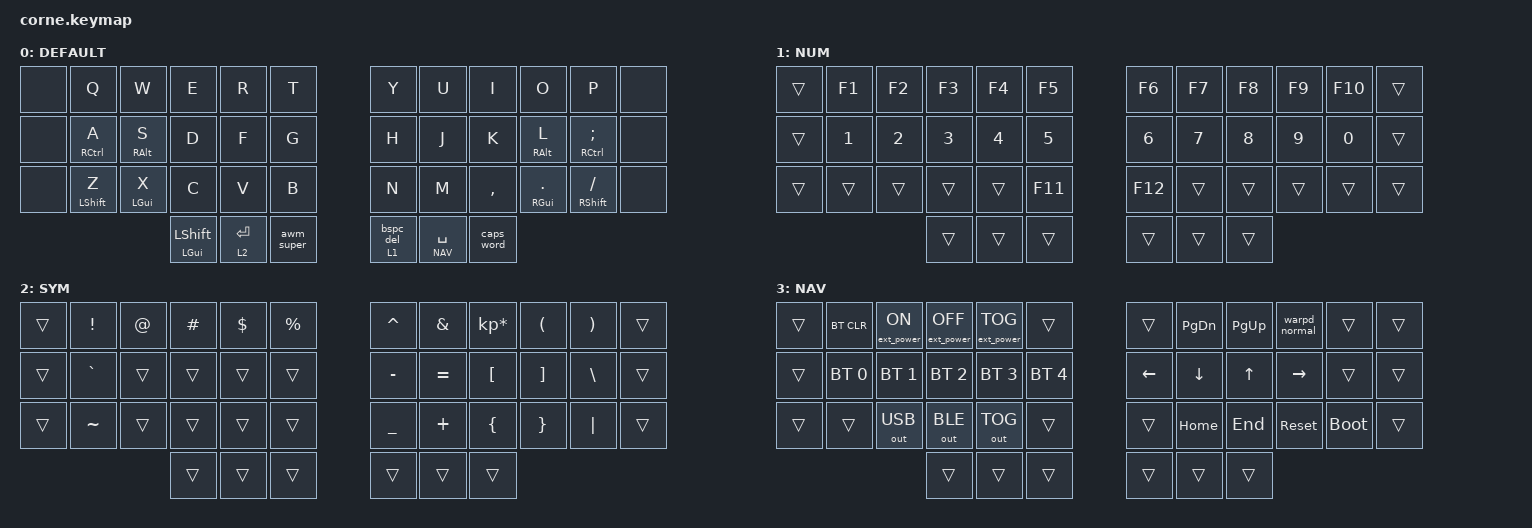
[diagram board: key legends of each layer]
// vim: set ft=devicetree: commentstring=//%s:
/*
 * Copyright (c) 2020 The ZMK Contributors
 *
 * SPDX-License-Identifier: MIT
 */

#include <behaviors.dtsi>
#include <dt-bindings/zmk/bt.h>
#include <dt-bindings/zmk/ext_power.h>
#include <dt-bindings/zmk/keys.h>
#include <dt-bindings/zmk/outputs.h>

#define DEFAULT 0
#define NUM     1
#define SYM     2
#define NAV     3

/ {
    chosen {
        zmk,battery = &vbatt;
    };

    vbatt: vbatt {
        compatible = "zmk,battery-nrf-vddh";
    };

    combos {
        compatible = "zmk,combos";

        tab {
            bindings = <&kp TAB>;
            key-positions = <3 2>;
            require-prior-idle-ms = <50>;
            layers = <DEFAULT>;
        };

        minus {
            bindings = <&kp MINUS>;
            key-positions = <20 21>;
            require-prior-idle-ms = <50>;
            layers = <DEFAULT>;
        };

        quote {
            bindings = <&kp SQT>;
            key-positions = <20 19>;
            require-prior-idle-ms = <50>;
            layers = <DEFAULT>;
        };

        double_quote {
            bindings = <&kp DOUBLE_QUOTES>;
            key-positions = <31 32>;
            require-prior-idle-ms = <50>;
            layers = <DEFAULT>;
        };

        underscore {
            bindings = <&kp UNDERSCORE>;
            key-positions = <32 33>;
            require-prior-idle-ms = <50>;
            layers = <DEFAULT>;
        };

        grave {
            bindings = <&kp GRAVE>;
            key-positions = <3 4>;
            require-prior-idle-ms = <50>;
            layers = <DEFAULT>;
        };

        at {
            bindings = <&kp AT>;
            key-positions = <2 14>;
            require-prior-idle-ms = <50>;
            layers = <DEFAULT>;
        };

        hash {
            bindings = <&kp HASH>;
            key-positions = <3 15>;
            require-prior-idle-ms = <50>;
            layers = <DEFAULT>;
        };

        dollar {
            bindings = <&kp DOLLAR>;
            key-positions = <4 16>;
            require-prior-idle-ms = <50>;
            layers = <DEFAULT>;
        };

        percent {
            bindings = <&kp PERCENT>;
            key-positions = <5 17>;
            require-prior-idle-ms = <50>;
            layers = <DEFAULT>;
        };

        caret {
            bindings = <&kp CARET>;
            key-positions = <6 18>;
            require-prior-idle-ms = <50>;
            layers = <DEFAULT>;
        };

        ampersand {
            bindings = <&kp AMPERSAND>;
            key-positions = <7 19>;
            require-prior-idle-ms = <50>;
            layers = <DEFAULT>;
        };

        star {
            bindings = <&kp ASTERISK>;
            key-positions = <8 20>;
            require-prior-idle-ms = <50>;
            layers = <DEFAULT>;
        };

        backslash {
            bindings = <&kp BACKSLASH>;
            key-positions = <9 21>;
            require-prior-idle-ms = <50>;
            layers = <DEFAULT>;
        };

        pipe {
            bindings = <&kp PIPE>;
            key-positions = <21 33>;
            require-prior-idle-ms = <50>;
            layers = <DEFAULT>;
        };

        tilde {
            bindings = <&kp TILDE>;
            key-positions = <15 16>;
            require-prior-idle-ms = <50>;
            layers = <DEFAULT>;
        };

        bang {
            bindings = <&kp EXCLAMATION>;
            key-positions = <14 26>;
            require-prior-idle-ms = <50>;
            layers = <DEFAULT>;
        };

        plus {
            bindings = <&kp PLUS>;
            key-positions = <20 32>;
            require-prior-idle-ms = <50>;
            layers = <DEFAULT>;
        };

        equal {
            bindings = <&kp EQUAL>;
            key-positions = <31 19>;
            require-prior-idle-ms = <50>;
            layers = <DEFAULT>;
        };
    };

    behaviors {
        hml: hml {
            compatible = "zmk,behavior-hold-tap";
            label = "HOME_ROW_LEFT";
            bindings = <&kp>, <&kp>;

            #binding-cells = <2>;
            tapping-term-ms = <280>;
            quick-tap-ms = <175>;
            require-prior-idle-ms = <150>;
            flavor = "balanced";
            hold-trigger-key-positions = <6 7 8 9 10 11 18 19 20 21 22 23 30 31 32 33 34 35>;
            hold-trigger-on-release;
        };

        hmr: hmr {
            compatible = "zmk,behavior-hold-tap";
            label = "HOME_ROW_RIGHT";
            bindings = <&kp>, <&kp>;

            #binding-cells = <2>;
            tapping-term-ms = <280>;
            quick-tap-ms = <175>;
            require-prior-idle-ms = <150>;
            flavor = "balanced";
            hold-trigger-key-positions = <0 1 2 3 4 5 12 13 14 15 16 17 24 25 26 27 28 29>;
            hold-trigger-on-release;
        };

        thumb_lt: thumb_lt {
            compatible = "zmk,behavior-hold-tap";
            label = "THUMB_LAYER_TAP";
            bindings = <&mo>, <&kp>;

            #binding-cells = <2>;
            tapping-term-ms = <280>;
            quick-tap-ms = <250>;
            require-prior-idle-ms = <150>;
            flavor = "tap-preferred";
        };

        hsk: hold_or_sticky_key {
            compatible = "zmk,behavior-hold-tap";
            label = "HOLD_OR_STICKY_KEY";
            bindings = <&kp>, <&skq>;

            #binding-cells = <2>;
            tapping-term-ms = <275>;
            quick-tap-ms = <250>;
            require-prior-idle-ms = <50>;
            flavor = "tap-preferred";
        };

        awm_super: awm_super {
            compatible = "zmk,behavior-tap-dance";
            label = "AWM_SUPER";
            #binding-cells = <0>;
            bindings = <&lmt LEFT_GUI ESCAPE>, <&lmt LS(LGUI) ESCAPE>;
        };

        skq: skq {
            compatible = "zmk,behavior-sticky-key";
            label = "STICKY_QUICK_RELEASE";
            bindings = <&kp>;
            #binding-cells = <1>;
            release-after-ms = <1500>;
            quick-release;
            ignore-modifiers;
        };

        lmt: lmt {
            compatible = "zmk,behavior-hold-tap";
            label = "LMT";
            bindings = <&lm1>, <&kp>;

            #binding-cells = <2>;
            tapping-term-ms = <150>;
        };

        bspc_del: bspc_del {
            compatible = "zmk,behavior-mod-morph";
            label = "BSPC_DEL";
            bindings = <&kp BACKSPACE>, <&kp DEL>;

            #binding-cells = <0>;
            mods = <(MOD_LSFT|MOD_RSFT)>;
            keep-mods = <(MOD_RSFT)>;
        };

        thumb_lt_bd: thumb_lt_bd {
            compatible = "zmk,behavior-hold-tap";
            label = "THUMB_LT_BD";
            bindings = <&mo>, <&bspc_del>;

            #binding-cells = <2>;
            tapping-term-ms = <280>;
            quick-tap-ms = <250>;
            require-prior-idle-ms = <150>;
            flavor = "tap-preferred";
        };
    };

    macros {
        lm: lm {
            label = "LAYER_MOD";
            compatible = "zmk,behavior-macro-two-param";
            wait-ms = <0>;
            tap-ms = <0>;
            #binding-cells = <2>;
            bindings =
                <&macro_param_1to1>,
                <&macro_press>,
                <&mo MACRO_PLACEHOLDER &macro_param_2to1>,
                <&macro_press>,
                <&kp MACRO_PLACEHOLDER>,
                <&macro_pause_for_release>,
                <&macro_param_2to1>,
                <&macro_release>,
                <&kp MACRO_PLACEHOLDER &macro_param_1to1>,
                <&macro_release>,
                <&mo MACRO_PLACEHOLDER>;
        };

        lm1: lm1 {
            compatible = "zmk,behavior-macro-one-param";
            label = "LM1";
            wait-ms = <0>;
            tap-ms = <0>;
            #binding-cells = <1>;
            bindings =
                <&macro_press>,
                <&mo NUM &macro_param_1to1>,
                <&macro_press>,
                <&kp MACRO_PLACEHOLDER>,
                <&macro_pause_for_release>,
                <&macro_param_1to1>,
                <&macro_release>,
                <&kp MACRO_PLACEHOLDER>,
                <&macro_release>,
                <&mo NUM>;
        };

        warpd_normal: warpd_normal {
            compatible = "zmk,behavior-macro";
            #binding-cells = <0>;
            bindings = <&kp LA(LG(C))>;
            label = "WARPD_NORMAL";
        };
    };

    keymap {
        compatible = "zmk,keymap";

        default_layer {
            bindings = <
&none  &kp Q                 &kp W             &kp E                 &kp R              &kp T         &kp Y             &kp U                &kp I       &kp O                  &kp P                         &none
&none  &hml RIGHT_CONTROL A  &hml RIGHT_ALT S  &kp D                 &kp F              &kp G         &kp H             &kp J                &kp K       &hmr RIGHT_ALT L       &hmr RIGHT_CONTROL SEMICOLON  &none
&none  &hml LEFT_SHIFT Z     &hml LEFT_GUI X   &kp C                 &kp V              &kp B         &kp N             &kp M                &kp COMMA   &hmr RIGHT_GUI PERIOD  &hmr RIGHT_SHIFT SLASH        &none
                                               &hsk LEFT_GUI LSHIFT  &thumb_lt 2 ENTER  &awm_super    &thumb_lt_bd 1 0  &thumb_lt NAV SPACE  &caps_word
            >;

            label = "DEFAULT";
        };

        num_layer {
            bindings = <
&trans  &kp F1        &kp F2        &kp F3        &kp F4        &kp F5          &kp F6        &kp F7        &kp F8        &kp F9        &kp F10       &trans
&trans  &kp NUMBER_1  &kp NUMBER_2  &kp NUMBER_3  &kp NUMBER_4  &kp NUMBER_5    &kp NUMBER_6  &kp NUMBER_7  &kp NUMBER_8  &kp NUMBER_9  &kp NUMBER_0  &trans
&trans  &trans        &trans        &trans        &trans        &kp F11         &kp F12       &trans        &trans        &trans        &trans        &trans
                                    &trans        &trans        &trans          &trans        &trans        &trans
            >;

            label = "NUM";
        };

        sym_layer {
            bindings = <
&trans  &kp EXCL   &kp AT  &kp HASH  &kp DLLR  &kp PRCNT    &kp CARET  &kp AMPS   &kp KP_MULTIPLY  &kp LPAR  &kp RPAR  &trans
&trans  &kp GRAVE  &trans  &trans    &trans    &trans       &kp MINUS  &kp EQUAL  &kp LBKT         &kp RBKT  &kp BSLH  &trans
&trans  &kp TILDE  &trans  &trans    &trans    &trans       &kp UNDER  &kp PLUS   &kp LBRC         &kp RBRC  &kp PIPE  &trans
                           &trans    &trans    &trans       &trans     &trans     &trans
            >;

            label = "SYM";
        };

        nav_layer {
            bindings = <
&trans  &bt BT_CLR    &ext_power EP_ON  &ext_power EP_OFF  &ext_power EP_TOG  &trans          &trans          &kp PAGE_DOWN   &kp PAGE_UP   &warpd_normal    &trans       &trans
&trans  &bt BT_SEL 0  &bt BT_SEL 1      &bt BT_SEL 2       &bt BT_SEL 3       &bt BT_SEL 4    &kp LEFT_ARROW  &kp DOWN_ARROW  &kp UP_ARROW  &kp RIGHT_ARROW  &trans       &trans
&trans  &trans        &out OUT_USB      &out OUT_BLE       &out OUT_TOG       &trans          &trans          &kp HOME        &kp END       &sys_reset       &bootloader  &trans
                                        &trans             &trans             &trans          &trans          &trans          &trans
            >;

            label = "NAV";
        };
    };
};
